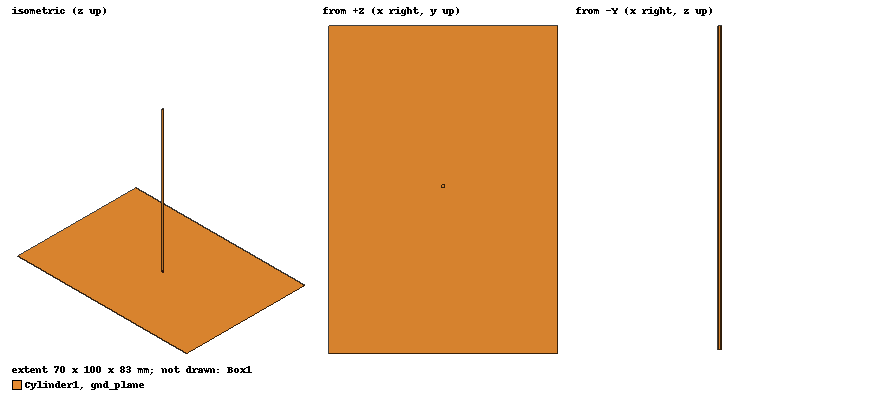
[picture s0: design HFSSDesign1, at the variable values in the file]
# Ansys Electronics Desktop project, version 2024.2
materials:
  vacuum: permittivity=1
  copper: permeability=0.999991 conductivity=58000000

design HFSSDesign1 (HFSS, HFSS Modal Network, model units mm)
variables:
  lambda = 328mm
  mono_h = 82mm
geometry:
  Cylinder1 [copper] = cylinder(axis=Z, base_centre=(35mm, 50mm, 1mm), radius=0.5mm, height=mono_h)
  gnd_plane = rectangle(corner=(0mm, -1mm, 0mm), x_size=70mm, y_size=100mm)
  Box1 [vacuum] = box(corner=(-80mm, -lambda/8, -lambda/4), size=(200mm, 200mm, 220mm))
  Rectangle1 = rectangle(corner=(35mm, 49.5mm, 0mm), y_size=1mm, z_size=1mm)
  coordinate_system RelativeCS1 = origin=(35mm, 50.5mm, 1mm) x=(1mm, 0mm, 0mm) y=(0mm, 1mm, 0mm)
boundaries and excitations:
  infinitecond1: Finite Conductivity Objects=gnd_plane UseMaterial Material=copper IsInternal
  Rad1: Radiation Faces=Box1.face(all 6)
  1: Lumped Port Objects=Rectangle1 LumpedPortType=Modal Modes{Mode1{IntLine{(35, 50, 0) -> (35, 50, 1)} CharImp=Zpi}} Impedance=50ohm
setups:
  InfiniteSetup1: HfssDriven Frequency=915MHz MaxDeltaS=0.02 MaximumPasses=8 MinimumPasses=1 MinimumConvergedPasses=1 PercentRefinement=30 BasisOrder=1 PortAccuracy=2 DrivenSolverType="Direct Solver" InfiniteSphereSetup=4
    sweep Sweep1: 850MHz to 980MHz, 200 points; Type=Interpolating InterpTolerance=0.5 InterpMaxSolns=250 InterpUsePortImped=false PassivityErrorTolerance=0.0001
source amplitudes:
  1:1: 1V 0deg
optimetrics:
  ParametricSetup1: Parametric Sim._Setups=[InfiniteSetup1]
    sweep mono_h: LIN 82.5mm 84mm 0.5mm
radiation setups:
  Infinite Sphere1: Infinite Sphere Theta=0deg..180deg step 2deg Phi=-180deg..180deg step 2deg
  Infinite Sphere2: Infinite Sphere Theta=0deg..180deg step 2deg Phi=-180deg..180deg step 2deg CoordSystem=RelativeCS1
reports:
  Gain Plot InFinite 0deg: dB(GainTotal) vs Theta on InfiniteSetup1 : LastAdaptive, Infinite Sphere1 [Phi=0deg Freq=0.915GHz]
  Gain Plot 3D: dB(GainTotal) vs Phi, Theta on InfiniteSetup1 : LastAdaptive, Infinite Sphere2 [Freq=0.915GHz mono_h=82mm]
  S Parameter Plot 1: dB(S(1,1)) vs Freq on InfiniteSetup1 : Sweep1 [mono_h=69mm]; markers m1 at 0.9159799GHz, m2 at 0.91532663GHz, m3 at 0.92120603GHz
  3D Gain, Corner PCB, finite: dB(GainTotal) vs Phi, Theta on InfiniteSetup1 : LastAdaptive, Infinite Sphere1 [Freq=0.915GHz mono_h=68mm]
